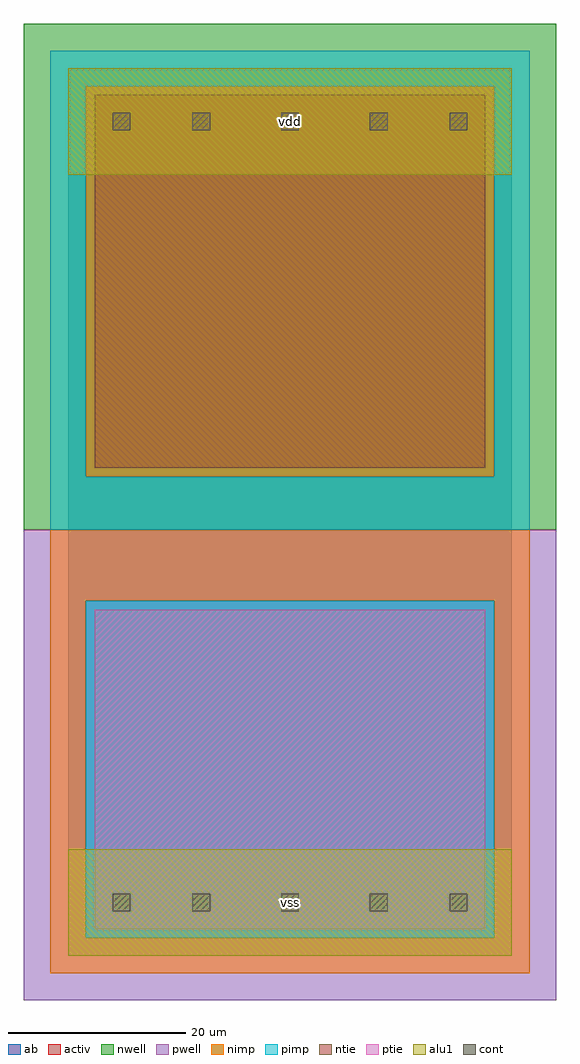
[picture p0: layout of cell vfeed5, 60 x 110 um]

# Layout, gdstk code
import gdstk
lib = gdstk.Library(unit=1e-6, precision=1e-09)
def R(c, l, rs):  # rectangles x0, y0, x1, y1
    for r in rs: c.add(gdstk.rectangle(r[:2], r[2:], *l))
def A(c, l, x, y, w, h, nx, ny, dx, dy):  # array of equal rectangles
    R(c, l, [(x+i*dx, y+j*dy, x+i*dx+w, y+j*dy+h) for i in range(nx) for j in range(ny)])
ntie = (5, 0)
ptie = (6, 0)
cont = (25, 0)
pwell = (41, 0)
nwell = (42, 0)
activ = (43, 0)
pimp = (44, 0)
nimp = (45, 0)
alu1 = (49, 0)
ab = (63, 0)

vfeed5 = lib.new_cell('vfeed5')
R(vfeed5, ntie, [(3,55,47,97)])
R(vfeed5, ptie, [(3,3,47,39)])
A(vfeed5, cont, 14, 5, 2, 2, 3, 2, 10, 88)
R(vfeed5, cont, [(5,5,7,7), (43,5,45,7), (5,93,7,95), (43,93,45,95)])
R(vfeed5, pwell, [(-5,-5,55,48)])
R(vfeed5, nwell, [(-5,48,55,105)])
R(vfeed5, activ, [(3,3,47,39), (3,55,47,97)])
R(vfeed5, pimp, [(2,2,48,40), (-2,48,52,54), (-2,54,2,98), (48,54,52,98), (-2,98,52,102)])
R(vfeed5, nimp, [(-2,-2,52,2), (-2,2,2,40), (48,2,52,40), (-2,40,52,48), (2,54,48,98)])
R(vfeed5, alu1, [(0,0,50,12), (0,88,50,100)])
R(vfeed5, ab, [(0,0,50,100)])
vfeed5.add(gdstk.Label('vss', (25,6), layer=49, texttype=0))
vfeed5.add(gdstk.Label('vdd', (25,94), layer=49, texttype=0))

lib.write_gds('vfeed5.gds')
